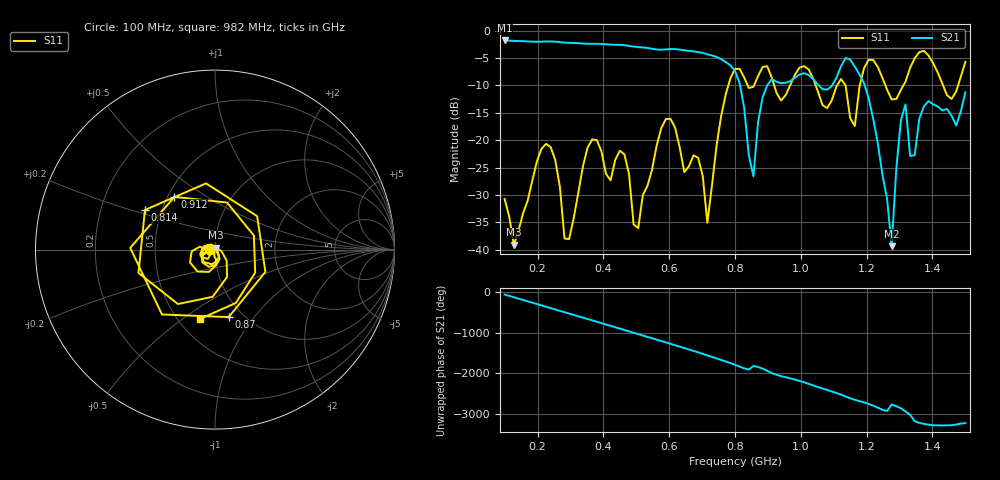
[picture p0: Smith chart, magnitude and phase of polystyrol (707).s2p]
! NanoVNA-App
! Date: 2025-09-25 15:35:23
! Start: 100MHz Stop: 1,5GHz Points: 101
! S-Parameter data: F S11 S21 S12 S22
# Hz S RI R 50
!  Frequency  S11_Real  S11_Imag  S21_Real  S21_Imag  S12_Real  S12_Imag  S22_Real  S22_Imag
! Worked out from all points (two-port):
!   101 points, 100 MHz to 1.5 GHz, reference 50 ohm
!   highest |S21| = -1.80 dB at 100 MHz (marker M1); lowest = -39.3 dB at 1.276 GHz (marker M2)
!   |S21| within 3 dB of the highest: start of sweep to 743.1 MHz
!   lowest |S11| = -39.1 dB at 128 MHz (marker M3), VSWR 1.02, Z = 50.3 + j1.06 ohm
!   |S11| at or under -10 dB: start of sweep to 779.7 MHz; 1.045 GHz to 1.11 GHz (65.37 MHz wide, 6.07 % of centre); 1.257 GHz to 1.312 GHz (54.73 MHz wide, 4.26 % of centre) (the widest 3 of 7)
!   S12 and S22 are empty: the file has one direction only
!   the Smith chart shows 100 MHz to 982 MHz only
!   S11 on the Smith chart (normalised r, x): 100 MHz: 0.94, -0.01; 814 MHz: 0.40, +0.22; 870 MHz: 0.86, -0.76; 912 MHz: 0.54, +0.37; 982 MHz: 0.64, -0.58
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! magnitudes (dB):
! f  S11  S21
! 100 MHz  -30.7  -1.8
! 128 MHz  -39.1  -1.9
! 212 MHz  -21.6  -2.0
! 282 MHz  -38.0  -2.2
! 338 MHz  -24.7  -2.4
! 464 MHz  -22.6  -2.7
! 506 MHz  -36.0  -3.0
! 576 MHz  -17.8  -3.5
! 716 MHz  -35.1  -4.3
! 800 MHz  -7.0  -7.4
! 814 MHz  -7.0  -9.6
! 856 MHz  -10.3  -26.6
! 870 MHz  -8.3  -16.7
! 912 MHz  -8.6  -8.9
! 982 MHz  -8.1  -8.6
! 1.038 GHz  -8.8  -8.9
! 1.164 GHz  -17.4  -6.6
! 1.192 GHz  -6.9  -9.6
! 1.276 GHz  -12.6  -39.3
! 1.318 GHz  -9.3  -13.5
! 1.346 GHz  -5.0  -22.7
! 1.5 GHz  -5.7  -11.3
